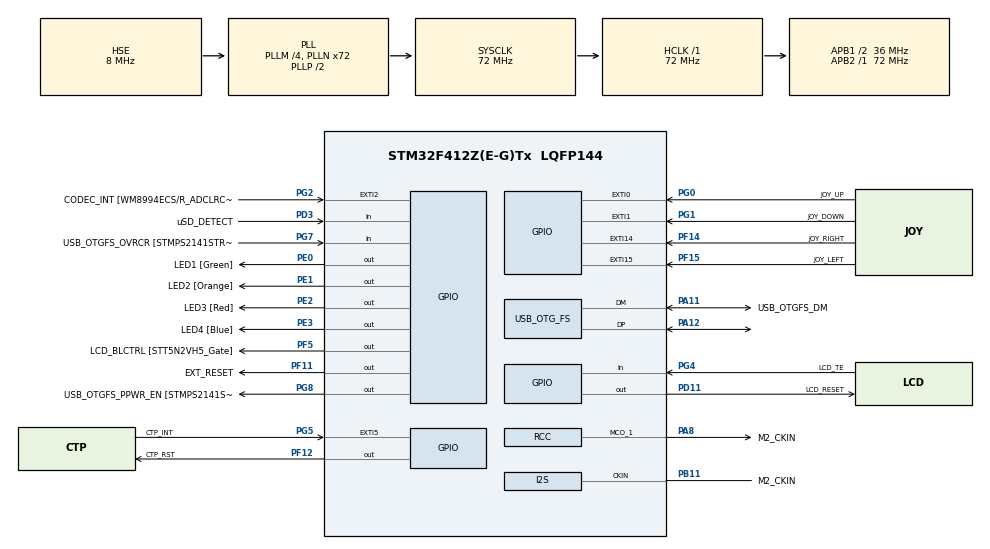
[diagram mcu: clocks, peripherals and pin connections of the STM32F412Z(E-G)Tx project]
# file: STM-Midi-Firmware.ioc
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FREERTOS.Tasks01=defaultTask,24,128,StartDefaultTask,Default,NULL,Dynamic,NULL,NULL
Mcu.Family=STM32F4
Mcu.Name=STM32F412Z(E-G)Tx
Mcu.Package=LQFP144
NVIC.EXTI0_IRQn=true\:5\:0\:false\:false\:true\:true\:true\:true\:true
NVIC.EXTI15_10_IRQn=true\:0\:0\:false\:false\:true\:false\:true\:true\:true
NVIC.EXTI1_IRQn=true\:0\:0\:false\:false\:true\:false\:true\:true\:true
NVIC.OTG_FS_IRQn=true\:5\:0\:false\:false\:true\:true\:true\:true\:true
NVIC.PriorityGroup=NVIC_PRIORITYGROUP_4
NVIC.TIM1_UP_TIM10_IRQn=true\:15\:0\:false\:false\:true\:false\:false\:true\:true
NVIC.TimeBase=TIM1_UP_TIM10_IRQn
NVIC.TimeBaseIP=TIM1
PA10.GPIO_Label=USB_OTGFS_ID
PA10.Signal=USB_OTG_FS_ID
PA11.GPIO_Label=USB_OTGFS_DM
PA11.Mode=Device_Only
PA11.Signal=USB_OTG_FS_DM
PA12.Mode=Device_Only
PA12.Signal=USB_OTG_FS_DP
PA13.GPIO_Label=SWDIO
PA13.Mode=Serial_Wire
PA13.Signal=SYS_JTMS-SWDIO
PA14.GPIO_Label=SWCLK
PA14.Mode=Serial_Wire
PA14.Signal=SYS_JTCK-SWCLK
PA2.GPIO_Label=STLINK_RX [STLINK_U2_RX]
PA2.Signal=USART2_TX
PA3.GPIO_Label=STLINK_TX [STLINK_U2_TX]
PA3.Signal=USART2_RX
PA4.GPIO_Label=CODEC_I2S3_WS [WM8994ECS/R_LRCLK1]
PA4.Signal=I2S3_WS
PA8.GPIO_Label=M2_CKIN
PA8.Mode=Clock-out-1
PA8.Signal=RCC_MCO_1
PA9.GPIO_Label=USB_OTGFS_VBUS
PA9.Signal=USB_OTG_FS_VBUS
PB1.GPIO_Label=DFSDM_DATIN0 [MP34DT01TR_DOUT]
PB1.Signal=S_DATAIN0DFSDM1
PB10.GPIO_Label=I2C2_SCL
PB10.GPIO_Pu=GPIO_PULLUP
PB10.Signal=I2C2_SCL
PB11.GPIO_Label=M2_CKIN
PB11.Mode=Audio_ClockIn
PB11.Signal=I2S_CKIN
PB12.GPIO_Label=CODEC_I2S3_SCK [WM8994ECS/R_BCLK1]
PB12.Signal=I2S3_CK
PB2.GPIO_Label=QSPI_CLK [N25Q128A13EF840F_C]
PB2.Signal=QUADSPI_CLK
PB3.GPIO_Label=SWO
PB3.Signal=SYS_JTDO-SWO
PB4.GPIO_Label=CODEC_I2S3ext_SD [WM8994ECS/R_ACDAT1]
PB4.Signal=I2S3_ext_SD
PB5.GPIO_Label=CODEC_I2S3_SD [WM8994ECS/R_DACDAT1]
PB5.Signal=I2S3_SD
PB6.GPIO_Label=I2C1_SCL [WM8994ECS/R_SCLK]
PB6.GPIO_Pu=GPIO_PULLUP
PB6.Signal=I2C1_SCL
PB7.GPIO_Label=I2C1_SDA [WM8994ECS/R_SDA]
PB7.GPIO_Pu=GPIO_PULLUP
PB7.Signal=I2C1_SDA
PB9.GPIO_Label=I2C2_SDA
PB9.GPIO_Pu=GPIO_PULLUP
PB9.Signal=I2C2_SDA
PC10.GPIO_Label=uSD_D2
PC10.Signal=SDIO_D2
PC11.GPIO_Label=uSD_D3
PC11.Signal=SDIO_D3
PC12.GPIO_Label=uSD_CLK
PC12.Signal=SDIO_CK
PC14-OSC32_IN.Mode=LSE-External-Oscillator
PC14-OSC32_IN.Signal=RCC_OSC32_IN
PC15-OSC32_OUT.Mode=LSE-External-Oscillator
PC15-OSC32_OUT.Signal=RCC_OSC32_OUT
PC2.GPIO_Label=DFSDM_CKOUT [MP34DT01TR_CLK]
PC2.Signal=S_CKOUTDFSDM1
PC7.GPIO_Label=CODEC_I2S3_MCK [WM8994ECS/R_MCLK1]
PC7.Signal=I2S3_MCK
PC8.GPIO_Label=uSD_D0
PC8.Signal=SDIO_D0
PC9.GPIO_Label=uSD_D1
PC9.Signal=SDIO_D1
PD0.GPIO_Label=D2
PD0.Signal=FSMC_D2_DA2
PD1.GPIO_Label=D3
PD1.Signal=FSMC_D3_DA3
PD10.GPIO_Label=D15
PD10.Signal=FSMC_D15_DA15
PD11.GPIO_Label=LCD_RESET
PD11.Signal=GPIO_Output
PD14.GPIO_Label=D0
PD14.Signal=FSMC_D0_DA0
PD15.GPIO_Label=D1
PD15.Signal=FSMC_D1_DA1
PD2.GPIO_Label=uSD_CMD
PD2.Signal=SDIO_CMD
PD3.GPIO_Label=uSD_DETECT
PD3.Signal=GPIO_Input
PD4.GPIO_Label=FMC_NOE
PD4.Signal=FSMC_NOE
PD5.GPIO_Label=FMC_NWE
PD5.Signal=FSMC_NWE
PD7.GPIO_Label=FMC_NE1
PD7.Signal=FSMC_NE1
PD8.GPIO_Label=D13
PD8.Signal=FSMC_D13_DA13
PD9.GPIO_Label=D14
PD9.Signal=FSMC_D14_DA14
PE0.GPIO_Label=LED1 [Green]
PE0.GPIO_ModeDefaultOutputPP=GPIO_MODE_OUTPUT_OD
PE0.Signal=GPIO_Output
PE1.GPIO_Label=LED2 [Orange]
PE1.GPIO_ModeDefaultOutputPP=GPIO_MODE_OUTPUT_OD
PE1.Signal=GPIO_Output
PE10.GPIO_Label=D7
PE10.Signal=FSMC_D7_DA7
PE11.GPIO_Label=D8
PE11.Signal=FSMC_D8_DA8
PE12.GPIO_Label=D9
PE12.Signal=FSMC_D9_DA9
PE13.GPIO_Label=D10
PE13.Signal=FSMC_D10_DA10
PE14.GPIO_Label=D11
PE14.Signal=FSMC_D11_DA11
PE15.GPIO_Label=D12
PE15.Signal=FSMC_D12_DA12
PE2.GPIO_Label=LED3 [Red]
PE2.GPIO_ModeDefaultOutputPP=GPIO_MODE_OUTPUT_OD
PE2.Signal=GPIO_Output
PE3.GPIO_Label=LED4 [Blue]
PE3.GPIO_ModeDefaultOutputPP=GPIO_MODE_OUTPUT_OD
PE3.Signal=GPIO_Output
PE4.GPIO_Label=DFSDM_DATIN3 [MP23DB01MM_DOUT]
PE4.Signal=S_DATAIN3DFSDM1
PE7.GPIO_Label=D4
PE7.Signal=FSMC_D4_DA4
PE8.GPIO_Label=D5
PE8.Signal=FSMC_D5_DA5
PE9.GPIO_Label=D6
PE9.Signal=FSMC_D6_DA6
PF0.GPIO_Label=A0
PF0.Signal=FSMC_A0
PF11.GPIO_Label=EXT_RESET
PF11.Signal=GPIO_Output
PF12.GPIO_Label=CTP_RST
PF12.Signal=GPIO_Output
PF14.GPIO_Label=JOY_RIGHT
PF14.Signal=GPXTI14
PF15.GPIO_Label=JOY_LEFT
PF15.Signal=GPXTI15
PF5.GPIO_Label=LCD_BLCTRL [STT5N2VH5_Gate]
PF5.Signal=GPIO_Output
PF6.GPIO_Label=QSPI_BK1_IO3 [N25Q128A13EF840F_DQ3]
PF6.Signal=QUADSPI_BK1_IO3
PF7.GPIO_Label=QSPI_BK1_IO2 [N25Q128A13EF840F_DQ2]
PF7.Signal=QUADSPI_BK1_IO2
PF8.GPIO_Label=QSPI_BK1_IO0 [N25Q128A13EF840F_DQ0]
PF8.Signal=QUADSPI_BK1_IO0
PF9.GPIO_Label=QSPI_BK1_IO1 [N25Q128A13EF840F_DQ1]
PF9.Signal=QUADSPI_BK1_IO1
PG0.GPIO_Label=JOY_UP
PG0.Signal=GPXTI0
PG1.GPIO_Label=JOY_DOWN
PG1.Signal=GPXTI1
PG2.GPIO_Label=CODEC_INT [WM8994ECS/R_ADCLRCLK1/GPIO1]
PG2.Signal=GPXTI2
PG4.GPIO_Label=LCD_TE
PG4.Signal=GPIO_Input
PG5.GPIO_Label=CTP_INT
PG5.Signal=GPXTI5
PG6.GPIO_Label=QSPI_BK1_NCS [N25Q128A13EF840F_S]
PG6.Signal=QUADSPI_BK1_NCS
PG7.GPIO_Label=USB_OTGFS_OVRCR [STMPS2141STR_FAULT]
PG7.Signal=GPIO_Input
PG8.GPIO_Label=USB_OTGFS_PPWR_EN [STMPS2141STR_EN]
PG8.GPIO_ModeDefaultOutputPP=GPIO_MODE_OUTPUT_OD
PG8.PinState=GPIO_PIN_SET
PG8.Signal=GPIO_Output
PH0\ -\ OSC_IN.GPIO_Label=STLK_MCO
PH0\ -\ OSC_IN.Mode=HSE-External-Clock-Source
PH0\ -\ OSC_IN.Signal=RCC_OSC_IN
PH1\ -\ OSC_OUT.Mode=HSE-External-Clock-Source
PH1\ -\ OSC_OUT.Signal=RCC_OSC_OUT
ProjectManager.HeapSize=0x200
ProjectManager.StackSize=0x400
ProjectManager.TargetToolchain=STM32CubeIDE
RCC.48MHZClocksFreq_Value=48000000
RCC.AHBFreq_Value=72000000
RCC.APB1CLKDivider=RCC_HCLK_DIV2
RCC.APB1Freq_Value=36000000
RCC.APB1TimFreq_Value=72000000
RCC.APB2Freq_Value=72000000
RCC.APB2TimFreq_Value=72000000
RCC.CortexFreq_Value=72000000
RCC.HCLKFreq_Value=72000000
RCC.HSE_VALUE=8000000
RCC.HSI_VALUE=16000000
RCC.PLLI2SM=4
RCC.PLLI2SN=50
RCC.PLLM=4
RCC.PLLN=72
RCC.PLLQ=3
RCC.PLLSourceVirtual=RCC_PLLSOURCE_HSE
RCC.SYSCLKFreq_VALUE=72000000
RCC.SYSCLKSource=RCC_SYSCLKSOURCE_PLLCLK
RCC.USBFreq_Value=48000000
RCC.VCOOutputFreq_Value=144000000
SH.FSMC_A0.0=FSMC_A0
SH.FSMC_D0_DA0.0=FSMC_D0
SH.FSMC_D10_DA10.0=FSMC_D10
SH.FSMC_D11_DA11.0=FSMC_D11
SH.FSMC_D12_DA12.0=FSMC_D12
SH.FSMC_D13_DA13.0=FSMC_D13
SH.FSMC_D14_DA14.0=FSMC_D14
SH.FSMC_D15_DA15.0=FSMC_D15
SH.FSMC_D1_DA1.0=FSMC_D1
SH.FSMC_D2_DA2.0=FSMC_D2
SH.FSMC_D3_DA3.0=FSMC_D3
SH.FSMC_D4_DA4.0=FSMC_D4
SH.FSMC_D5_DA5.0=FSMC_D5
SH.FSMC_D6_DA6.0=FSMC_D6
SH.FSMC_D7_DA7.0=FSMC_D7
SH.FSMC_D8_DA8.0=FSMC_D8
SH.FSMC_D9_DA9.0=FSMC_D9
SH.FSMC_NOE.0=FSMC_NOE
SH.FSMC_NWE.0=FSMC_NWE
SH.S_CKOUTDFSDM1.0=DFSDM1_CKOUT
SH.S_DATAIN0DFSDM1.0=DFSDM1_DATIN0
SH.S_DATAIN3DFSDM1.0=DFSDM1_DATIN3
USB_OTG_FS.VirtualMode=Device_Only
VP_FREERTOS_VS_CMSIS_V2.Mode=CMSIS_V2
VP_SYS_VS_tim1.Mode=TIM1
board=STM32F412G-DISCO

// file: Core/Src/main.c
/* USER CODE BEGIN Header */
/**
 ******************************************************************************
 * @file           : main.c
 * @brief          : Main program body
 ******************************************************************************
 * @attention
 *
 * Copyright (c) 2024 STMicroelectronics.
 * All rights reserved.
 *
 * This software is licensed under terms that can be found in the LICENSE file
 * in the root directory of this software component.
 * If no LICENSE file comes with this software, it is provided AS-IS.
 *
 ******************************************************************************
 */
/* USER CODE END Header */
#include "main.h"
#include "cmsis_os.h"

/* USER CODE BEGIN Includes */
#include "tusb.h"
#include "event_groups.h"
#include <limits.h>
#include "task.h"
/* USER CODE END Includes */

/* USER CODE BEGIN PTD */
typedef struct {
    uint8_t current;
    uint8_t length;
    uint32_t options[4];

} OptionState;

typedef struct {
    uint8_t length;
    uint8_t *notes[];

} Sequence;

typedef struct {
    OptionState tempo;
    OptionState length;
    Sequence *seqs[3];
    uint8_t num_seqs;
    uint8_t current_sequence;
    int note_pos;
    uint8_t running;

} SeqState;
/* USER CODE END PTD */

/* USER CODE BEGIN PD */
#define USBD_STACK_SIZE    (3*configMINIMAL_STACK_SIZE/2) * (CFG_TUSB_DEBUG ? 2 : 1)

#define JOY_UP_BIT    0x01
#define JOY_DOWN_BIT  0x02
#define JOY_LEFT_BIT  0x04
#define JOY_RIGHT_BIT 0x08
/* USER CODE END PD */

PCD_HandleTypeDef hpcd_USB_OTG_FS;

/* Definitions for defaultTask */
osThreadId_t defaultTaskHandle;
const osThreadAttr_t defaultTask_attributes = { .name = "defaultTask",
        .stack_size = 128 * 4, .priority = (osPriority_t) osPriorityNormal, };

/* USER CODE BEGIN PV */
/* Definitions for USB Device Task */
StackType_t usb_device_stack[USBD_STACK_SIZE];
StaticTask_t usb_device_taskdef;

TaskHandle_t seq_task_handle;

static Sequence seq_1 = { .length = 6, .notes = { (uint8_t[] )
        { 64, 67, 71, 66, 71, 67 } }, };

static Sequence seq_2 = { .length = 7, .notes = { (uint8_t[] )
        { 55, 67, 79, 73, 69, 57, 61 } }, };

static Sequence seq_3 = { .length = 8, .notes = { (uint8_t[] )
        { 75, 70, 65, 60, 59, 64, 79, 81 } }, };
/* USER CODE END PV */

void SystemClock_Config(void);
static void MX_GPIO_Init(void);
static void MX_USB_OTG_FS_PCD_Init(void);
void StartDefaultTask(void *argument);

/* USER CODE BEGIN PFP */
static void vUsbDeviceTask(void *pvParameters);
void vMidiTask(void *pvParameters);
void vNoteTask(void *pvParameters);
void vNoteOffCallback(TimerHandle_t xTimer);

void init_seq_state(SeqState *state);
void step_seq_tempo(SeqState *state);
void step_seq_length(SeqState *state);
void step_seq_sequence(SeqState *state);
void step_seq_note(SeqState *state);
uint8_t* get_seq_sequence(SeqState *state);
uint32_t get_seq_tempo(SeqState *state);
uint32_t get_seq_length(SeqState *state);
uint8_t get_seq_note(SeqState *state);

void init_option_state(uint32_t options[4], OptionState *option_handle);
/* USER CODE END PFP */

/* USER CODE BEGIN 0 */
void init_seq_state(SeqState *state) {

    init_option_state((uint32_t[]){400,200,100,50}, &state->tempo);
    init_option_state((uint32_t[]){300,150,100,25}, &state->length);

    state->seqs[0] = &seq_1;
    state->seqs[1] = &seq_2;
    state->seqs[2] = &seq_3;

    state->current_sequence = 0;

    state->num_seqs = 3;

    state->note_pos = 0;

    state->running = 0;
}

void init_option_state(uint32_t options[4], OptionState *option_handle) {
    option_handle->current = 0;
    option_handle->length = 4;
    option_handle->options[0] = options[0];
    option_handle->options[1] = options[1];
    option_handle->options[2] = options[2];
    option_handle->options[3] = options[3];
}

void step_seq_tempo(SeqState *state) {
    state->tempo.current = (state->tempo.current + 1) % state->tempo.length;
}

void step_seq_length(SeqState *state) {
    state->length.current = (state->length.current + 1) % state->length.length;
}

void step_seq_sequence(SeqState *state) {
    state->current_sequence = (state->current_sequence + 1) % 3;
    state->note_pos = 0;
}

void step_seq_note(SeqState *state) {
    state->note_pos = (state->note_pos + 1)
            % state->seqs[state->current_sequence]->length;
}

uint32_t get_seq_tempo(SeqState *state) {
    uint32_t *options = state->tempo.options;
    uint8_t current = state->tempo.current;
    return pdMS_TO_TICKS(options[current]);
}

uint32_t get_seq_length(SeqState *state) {
    uint32_t *options = state->length.options;
    uint8_t current = state->length.current;
    return pdMS_TO_TICKS(options[current]);
}

uint8_t* get_seq_sequence(SeqState *state) {
    return *state->seqs[state->current_sequence]->notes;
}

uint8_t get_seq_note(SeqState *state) {
    uint8_t *notes = get_seq_sequence(state);
    return notes[state->note_pos];
}

/* USER CODE END 0 */

int main(void) {

    /* MCU Configuration--------------------------------------------------------*/

    /* Reset of all peripherals, Initializes the Flash interface and the Systick. */
    HAL_Init();

    /* Configure the system clock */
    SystemClock_Config();

    /* Initialize all configured peripherals */
    MX_GPIO_Init();
    MX_USB_OTG_FS_PCD_Init();
    /* USER CODE BEGIN 2 */
    tusb_init();
    // turn off leds except 4
    HAL_GPIO_WritePin(GPIOE, LED3_Pin | LED1_Pin | LED2_Pin, 1);

    /* USER CODE END 2 */

    /* Init scheduler */
    osKernelInitialize();

    /* Create the thread(s) */
    /* creation of defaultTask */
    defaultTaskHandle = osThreadNew(StartDefaultTask, NULL,
            &defaultTask_attributes);

    /* USER CODE BEGIN RTOS_THREADS */
    xTaskCreateStatic(vUsbDeviceTask, "usbd", USBD_STACK_SIZE, NULL,
    configMAX_PRIORITIES - 1, usb_device_stack, &usb_device_taskdef);

    xTaskCreate(vMidiTask, "seq", 128 * 4, NULL, osPriorityNormal,
            &seq_task_handle);

    /* USER CODE END RTOS_THREADS */

    /* Start scheduler */
    osKernelStart();

    /* We should never get here as control is now taken by the scheduler */
    /* Infinite loop */
    while (1) {

    }
}

void SystemClock_Config(void) {
    RCC_OscInitTypeDef RCC_OscInitStruct = { 0 };
    RCC_ClkInitTypeDef RCC_ClkInitStruct = { 0 };

    /** Configure the main internal regulator output voltage
     */
    __HAL_RCC_PWR_CLK_ENABLE();
    __HAL_PWR_VOLTAGESCALING_CONFIG(PWR_REGULATOR_VOLTAGE_SCALE1);

    /** Initializes the RCC Oscillators according to the specified parameters
     * in the RCC_OscInitTypeDef structure.
     */
    RCC_OscInitStruct.OscillatorType = RCC_OSCILLATORTYPE_HSI
            | RCC_OSCILLATORTYPE_HSE;
    RCC_OscInitStruct.HSEState = RCC_HSE_BYPASS;
    RCC_OscInitStruct.HSIState = RCC_HSI_ON;
    RCC_OscInitStruct.HSICalibrationValue = RCC_HSICALIBRATION_DEFAULT;
    RCC_OscInitStruct.PLL.PLLState = RCC_PLL_ON;
    RCC_OscInitStruct.PLL.PLLSource = RCC_PLLSOURCE_HSE;
    RCC_OscInitStruct.PLL.PLLM = 4;
    RCC_OscInitStruct.PLL.PLLN = 72;
    RCC_OscInitStruct.PLL.PLLP = RCC_PLLP_DIV2;
    RCC_OscInitStruct.PLL.PLLQ = 3;
    RCC_OscInitStruct.PLL.PLLR = 2;
    if (HAL_RCC_OscConfig(&RCC_OscInitStruct) != HAL_OK) {
        Error_Handler();
    }

    /** Initializes the CPU, AHB and APB buses clocks
     */
    RCC_ClkInitStruct.ClockType = RCC_CLOCKTYPE_HCLK | RCC_CLOCKTYPE_SYSCLK
            | RCC_CLOCKTYPE_PCLK1 | RCC_CLOCKTYPE_PCLK2;
    RCC_ClkInitStruct.SYSCLKSource = RCC_SYSCLKSOURCE_PLLCLK;
    RCC_ClkInitStruct.AHBCLKDivider = RCC_SYSCLK_DIV1;
    RCC_ClkInitStruct.APB1CLKDivider = RCC_HCLK_DIV2;
    RCC_ClkInitStruct.APB2CLKDivider = RCC_HCLK_DIV1;

    if (HAL_RCC_ClockConfig(&RCC_ClkInitStruct, FLASH_LATENCY_2) != HAL_OK) {
        Error_Handler();
    }
    HAL_RCC_MCOConfig(RCC_MCO1, RCC_MCO1SOURCE_HSI, RCC_MCODIV_1);
}

static void MX_USB_OTG_FS_PCD_Init(void) {

    hpcd_USB_OTG_FS.Instance = USB_OTG_FS;
    hpcd_USB_OTG_FS.Init.dev_endpoints = 6;
    hpcd_USB_OTG_FS.Init.speed = PCD_SPEED_FULL;
    hpcd_USB_OTG_FS.Init.dma_enable = DISABLE;
    hpcd_USB_OTG_FS.Init.phy_itface = PCD_PHY_EMBEDDED;
    hpcd_USB_OTG_FS.Init.Sof_enable = DISABLE;
    hpcd_USB_OTG_FS.Init.low_power_enable = DISABLE;
    hpcd_USB_OTG_FS.Init.lpm_enable = DISABLE;
    hpcd_USB_OTG_FS.Init.battery_charging_enable = DISABLE;
    hpcd_USB_OTG_FS.Init.vbus_sensing_enable = DISABLE;
    hpcd_USB_OTG_FS.Init.use_dedicated_ep1 = DISABLE;
    if (HAL_PCD_Init(&hpcd_USB_OTG_FS) != HAL_OK) {
        Error_Handler();
    }

}

static void MX_GPIO_Init(void) {
    GPIO_InitTypeDef GPIO_InitStruct = { 0 };

    /* GPIO Ports Clock Enable */
    __HAL_RCC_GPIOE_CLK_ENABLE();
    __HAL_RCC_GPIOC_CLK_ENABLE();
    __HAL_RCC_GPIOF_CLK_ENABLE();
    __HAL_RCC_GPIOH_CLK_ENABLE();
    __HAL_RCC_GPIOA_CLK_ENABLE();
    __HAL_RCC_GPIOB_CLK_ENABLE();
    __HAL_RCC_GPIOG_CLK_ENABLE();
    __HAL_RCC_GPIOD_CLK_ENABLE();

    /*Configure GPIO pin Output Level */
    HAL_GPIO_WritePin(GPIOE, LED3_Pin | LED4_Pin | LED1_Pin | LED2_Pin,
            GPIO_PIN_RESET);

    /*Configure GPIO pin Output Level */
    HAL_GPIO_WritePin(GPIOF, LCD_BLCTRL_Pin | EXT_RESET_Pin | CTP_RST_Pin,
            GPIO_PIN_RESET);

    /*Configure GPIO pin Output Level */
    HAL_GPIO_WritePin(LCD_RESET_GPIO_Port, LCD_RESET_Pin, GPIO_PIN_RESET);

    /*Configure GPIO pin Output Level */
    HAL_GPIO_WritePin(USB_OTGFS_PPWR_EN_GPIO_Port, USB_OTGFS_PPWR_EN_Pin,
            GPIO_PIN_SET);

    /*Configure GPIO pins : LED3_Pin LED4_Pin LED1_Pin LED2_Pin */
    GPIO_InitStruct.Pin = LED3_Pin | LED4_Pin | LED1_Pin | LED2_Pin;
    GPIO_InitStruct.Mode = GPIO_MODE_OUTPUT_OD;
    GPIO_InitStruct.Pull = GPIO_NOPULL;
    GPIO_InitStruct.Speed = GPIO_SPEED_FREQ_LOW;
    HAL_GPIO_Init(GPIOE, &GPIO_InitStruct);

    /*Configure GPIO pin : DFSDM_DATIN3_Pin */
    GPIO_InitStruct.Pin = DFSDM_DATIN3_Pin;
    GPIO_InitStruct.Mode = GPIO_MODE_AF_PP;
    GPIO_InitStruct.Pull = GPIO_NOPULL;
    GPIO_InitStruct.Speed = GPIO_SPEED_FREQ_LOW;
    GPIO_InitStruct.Alternate = GPIO_AF8_DFSDM1;
    HAL_GPIO_Init(DFSDM_DATIN3_GPIO_Port, &GPIO_InitStruct);

    /*Configure GPIO pin : A0_Pin */
    GPIO_InitStruct.Pin = A0_Pin;
    GPIO_InitStruct.Mode = GPIO_MODE_AF_PP;
    GPIO_InitStruct.Pull = GPIO_NOPULL;
    GPIO_InitStruct.Speed = GPIO_SPEED_FREQ_VERY_HIGH;
    GPIO_InitStruct.Alternate = GPIO_AF12_FSMC;
    HAL_GPIO_Init(A0_GPIO_Port, &GPIO_InitStruct);

    /*Configure GPIO pins : LCD_BLCTRL_Pin EXT_RESET_Pin CTP_RST_Pin */
    GPIO_InitStruct.Pin = LCD_BLCTRL_Pin | EXT_RESET_Pin | CTP_RST_Pin;
    GPIO_InitStruct.Mode = GPIO_MODE_OUTPUT_PP;
    GPIO_InitStruct.Pull = GPIO_NOPULL;
    GPIO_InitStruct.Speed = GPIO_SPEED_FREQ_LOW;
    HAL_GPIO_Init(GPIOF, &GPIO_InitStruct);

    /*Configure GPIO pins : QSPI_BK1_IO3_Pin QSPI_BK1_IO2_Pin */
    GPIO_InitStruct.Pin = QSPI_BK1_IO3_Pin | QSPI_BK1_IO2_Pin;
    GPIO_InitStruct.Mode = GPIO_MODE_AF_PP;
    GPIO_InitStruct.Pull = GPIO_NOPULL;
    GPIO_InitStruct.Speed = GPIO_SPEED_FREQ_VERY_HIGH;
    GPIO_InitStruct.Alternate = GPIO_AF9_QSPI;
    HAL_GPIO_Init(GPIOF, &GPIO_InitStruct);

    /*Configure GPIO pins : QSPI_BK1_IO0_Pin QSPI_BK1_IO1_Pin */
    GPIO_InitStruct.Pin = QSPI_BK1_IO0_Pin | QSPI_BK1_IO1_Pin;
    GPIO_InitStruct.Mode = GPIO_MODE_AF_PP;
    GPIO_InitStruct.Pull = GPIO_NOPULL;
    GPIO_InitStruct.Speed = GPIO_SPEED_FREQ_VERY_HIGH;
    GPIO_InitStruct.Alternate = GPIO_AF10_OTG_FS;
    HAL_GPIO_Init(GPIOF, &GPIO_InitStruct);

    /*Configure GPIO pin : DFSDM_CKOUT_Pin */
    GPIO_InitStruct.Pin = DFSDM_CKOUT_Pin;
    GPIO_InitStruct.Mode = GPIO_MODE_AF_PP;
    GPIO_InitStruct.Pull = GPIO_NOPULL;
    GPIO_InitStruct.Speed = GPIO_SPEED_FREQ_LOW;
    GPIO_InitStruct.Alternate = GPIO_AF8_DFSDM1;
    HAL_GPIO_Init(DFSDM_CKOUT_GPIO_Port, &GPIO_InitStruct);

    /*Configure GPIO pins : STLINK_RX_Pin STLINK_TX_Pin */
    GPIO_InitStruct.Pin = STLINK_RX_Pin | STLINK_TX_Pin;
    GPIO_InitStruct.Mode = GPIO_MODE_AF_PP;
    GPIO_InitStruct.Pull = GPIO_NOPULL;
    GPIO_InitStruct.Speed = GPIO_SPEED_FREQ_VERY_HIGH;
    GPIO_InitStruct.Alternate = GPIO_AF7_USART2;
    HAL_GPIO_Init(GPIOA, &GPIO_InitStruct);

    /*Configure GPIO pin : CODEC_I2S3_WS_Pin */
    GPIO_InitStruct.Pin = CODEC_I2S3_WS_Pin;
    GPIO_InitStruct.Mode = GPIO_MODE_AF_PP;
    GPIO_InitStruct.Pull = GPIO_NOPULL;
    GPIO_InitStruct.Speed = GPIO_SPEED_FREQ_LOW;
    GPIO_InitStruct.Alternate = GPIO_AF6_SPI3;
    HAL_GPIO_Init(CODEC_I2S3_WS_GPIO_Port, &GPIO_InitStruct);

    /*Configure GPIO pin : DFSDM_DATIN0_Pin */
    GPIO_InitStruct.Pin = DFSDM_DATIN0_Pin;
    GPIO_InitStruct.Mode = GPIO_MODE_AF_PP;
    GPIO_InitStruct.Pull = GPIO_NOPULL;
    GPIO_InitStruct.Speed = GPIO_SPEED_FREQ_LOW;
    GPIO_InitStruct.Alternate = GPIO_AF8_DFSDM1;
    HAL_GPIO_Init(DFSDM_DATIN0_GPIO_Port, &GPIO_InitStruct);

    /*Configure GPIO pin : QSPI_CLK_Pin */
    GPIO_InitStruct.Pin = QSPI_CLK_Pin;
    GPIO_InitStruct.Mode = GPIO_MODE_AF_PP;
    GPIO_InitStruct.Pull = GPIO_NOPULL;
    GPIO_InitStruct.Speed = GPIO_SPEED_FREQ_VERY_HIGH;
    GPIO_InitStruct.Alternate = GPIO_AF9_QSPI;
    HAL_GPIO_Init(QSPI_CLK_GPIO_Port, &GPIO_InitStruct);

    /*Configure GPIO pins : JOY_RIGHT_Pin JOY_LEFT_Pin */
    GPIO_InitStruct.Pin = JOY_RIGHT_Pin | JOY_LEFT_Pin;
    GPIO_InitStruct.Mode = GPIO_MODE_IT_RISING;
    GPIO_InitStruct.Pull = GPIO_NOPULL;
    HAL_GPIO_Init(GPIOF, &GPIO_InitStruct);

    /*Configure GPIO pins : JOY_UP_Pin JOY_DOWN_Pin CODEC_INT_Pin CTP_INT_Pin */
    GPIO_InitStruct.Pin = JOY_UP_Pin | JOY_DOWN_Pin | CODEC_INT_Pin
            | CTP_INT_Pin;
    GPIO_InitStruct.Mode = GPIO_MODE_IT_RISING;
    GPIO_InitStruct.Pull = GPIO_NOPULL;
    HAL_GPIO_Init(GPIOG, &GPIO_InitStruct);

    /*Configure GPIO pins : D4_Pin D5_Pin D6_Pin D7_Pin
     D8_Pin D9_Pin D10_Pin D11_Pin
     D12_Pin */
    GPIO_InitStruct.Pin = D4_Pin | D5_Pin | D6_Pin | D7_Pin | D8_Pin | D9_Pin
            | D10_Pin | D11_Pin | D12_Pin;
    GPIO_InitStruct.Mode = GPIO_MODE_AF_PP;
    GPIO_InitStruct.Pull = GPIO_NOPULL;
    GPIO_InitStruct.Speed = GPIO_SPEED_FREQ_VERY_HIGH;
    GPIO_InitStruct.Alternate = GPIO_AF12_FSMC;
    HAL_GPIO_Init(GPIOE, &GPIO_InitStruct);

    /*Configure GPIO pin : I2C2_SCL_Pin */
    GPIO_InitStruct.Pin = I2C2_SCL_Pin;
    GPIO_InitStruct.Mode = GPIO_MODE_AF_OD;
    GPIO_InitStruct.Pull = GPIO_PULLUP;
    GPIO_InitStruct.Speed = GPIO_SPEED_FREQ_VERY_HIGH;
    GPIO_InitStruct.Alternate = GPIO_AF4_I2C2;
    HAL_GPIO_Init(I2C2_SCL_GPIO_Port, &GPIO_InitStruct);

    /*Configure GPIO pin : M2_CKIN_Pin */
    GPIO_InitStruct.Pin = M2_CKIN_Pin;
    GPIO_InitStruct.Mode = GPIO_MODE_AF_PP;
    GPIO_InitStruct.Pull = GPIO_NOPULL;
    GPIO_InitStruct.Speed = GPIO_SPEED_FREQ_LOW;
    GPIO_InitStruct.Alternate = GPIO_AF5_SPI1;
    HAL_GPIO_Init(M2_CKIN_GPIO_Port, &GPIO_InitStruct);

    /*Configure GPIO pins : CODEC_I2S3_SCK_Pin CODEC_I2S3ext_SD_Pin */
    GPIO_InitStruct.Pin = CODEC_I2S3_SCK_Pin | CODEC_I2S3ext_SD_Pin;
    GPIO_InitStruct.Mode = GPIO_MODE_AF_PP;
    GPIO_InitStruct.Pull = GPIO_NOPULL;
    GPIO_InitStruct.Speed = GPIO_SPEED_FREQ_LOW;
    GPIO_InitStruct.Alternate = GPIO_AF7_SPI3;
    HAL_GPIO_Init(GPIOB, &GPIO_InitStruct);

    /*Configure GPIO pins : D13_Pin D14_Pin D15_Pin D0_Pin
     D1_Pin D2_Pin D3_Pin FMC_NOE_Pin
     FMC_NWE_Pin FMC_NE1_Pin */
    GPIO_InitStruct.Pin = D13_Pin | D14_Pin | D15_Pin | D0_Pin | D1_Pin | D2_Pin
            | D3_Pin | FMC_NOE_Pin | FMC_NWE_Pin | FMC_NE1_Pin;
    GPIO_InitStruct.Mode = GPIO_MODE_AF_PP;
    GPIO_InitStruct.Pull = GPIO_NOPULL;
    GPIO_InitStruct.Speed = GPIO_SPEED_FREQ_VERY_HIGH;
    GPIO_InitStruct.Alternate = GPIO_AF12_FSMC;
    HAL_GPIO_Init(GPIOD, &GPIO_InitStruct);

    /*Configure GPIO pin : LCD_RESET_Pin */
    GPIO_InitStruct.Pin = LCD_RESET_Pin;
    GPIO_InitStruct.Mode = GPIO_MODE_OUTPUT_PP;
    GPIO_InitStruct.Pull = GPIO_NOPULL;
    GPIO_InitStruct.Speed = GPIO_SPEED_FREQ_LOW;
    HAL_GPIO_Init(LCD_RESET_GPIO_Port, &GPIO_InitStruct);

    /*Configure GPIO pins : LCD_TE_Pin USB_OTGFS_OVRCR_Pin */
    GPIO_InitStruct.Pin = LCD_TE_Pin | USB_OTGFS_OVRCR_Pin;
    GPIO_InitStruct.Mode = GPIO_MODE_INPUT;
    GPIO_InitStruct.Pull = GPIO_NOPULL;
    HAL_GPIO_Init(GPIOG, &GPIO_InitStruct);

    /*Configure GPIO pin : QSPI_BK1_NCS_Pin */
    GPIO_InitStruct.Pin = QSPI_BK1_NCS_Pin;
    GPIO_InitStruct.Mode = GPIO_MODE_AF_PP;
    GPIO_InitStruct.Pull = GPIO_NOPULL;
    GPIO_InitStruct.Speed = GPIO_SPEED_FREQ_VERY_HIGH;
    GPIO_InitStruct.Alternate = GPIO_AF10_OTG_FS;
    HAL_GPIO_Init(QSPI_BK1_NCS_GPIO_Port, &GPIO_InitStruct);

    /*Configure GPIO pin : USB_OTGFS_PPWR_EN_Pin */
    GPIO_InitStruct.Pin = USB_OTGFS_PPWR_EN_Pin;
    GPIO_InitStruct.Mode = GPIO_MODE_OUTPUT_OD;
    GPIO_InitStruct.Pull = GPIO_NOPULL;
    GPIO_InitStruct.Speed = GPIO_SPEED_FREQ_LOW;
    HAL_GPIO_Init(USB_OTGFS_PPWR_EN_GPIO_Port, &GPIO_InitStruct);

    /*Configure GPIO pin : CODEC_I2S3_MCK_Pin */
    GPIO_InitStruct.Pin = CODEC_I2S3_MCK_Pin;
    GPIO_InitStruct.Mode = GPIO_MODE_AF_PP;
    GPIO_InitStruct.Pull = GPIO_NOPULL;
    GPIO_InitStruct.Speed = GPIO_SPEED_FREQ_LOW;
    GPIO_InitStruct.Alternate = GPIO_AF6_SPI3;
    HAL_GPIO_Init(CODEC_I2S3_MCK_GPIO_Port, &GPIO_InitStruct);

    /*Configure GPIO pins : uSD_D0_Pin uSD_D1_Pin uSD_D2_Pin uSD_D3_Pin
     uSD_CLK_Pin */
    GPIO_InitStruct.Pin = uSD_D0_Pin | uSD_D1_Pin | uSD_D2_Pin | uSD_D3_Pin
            | uSD_CLK_Pin;
    GPIO_InitStruct.Mode = GPIO_MODE_AF_PP;
    GPIO_InitStruct.Pull = GPIO_NOPULL;
    GPIO_InitStruct.Speed = GPIO_SPEED_FREQ_VERY_HIGH;
    GPIO_InitStruct.Alternate = GPIO_AF12_SDIO;
    HAL_GPIO_Init(GPIOC, &GPIO_InitStruct);

    /*Configure GPIO pin : M2_CKINA8_Pin */
    GPIO_InitStruct.Pin = M2_CKINA8_Pin;
    GPIO_InitStruct.Mode = GPIO_MODE_AF_PP;
    GPIO_InitStruct.Pull = GPIO_NOPULL;
    GPIO_InitStruct.Speed = GPIO_SPEED_FREQ_LOW;
    GPIO_InitStruct.Alternate = GPIO_AF0_MCO;
    HAL_GPIO_Init(M2_CKINA8_GPIO_Port, &GPIO_InitStruct);

    /*Configure GPIO pin : uSD_CMD_Pin */
    GPIO_InitStruct.Pin = uSD_CMD_Pin;
    GPIO_InitStruct.Mode = GPIO_MODE_AF_PP;
    GPIO_InitStruct.Pull = GPIO_NOPULL;
    GPIO_InitStruct.Speed = GPIO_SPEED_FREQ_VERY_HIGH;
    GPIO_InitStruct.Alternate = GPIO_AF12_SDIO;
    HAL_GPIO_Init(uSD_CMD_GPIO_Port, &GPIO_InitStruct);

    /*Configure GPIO pin : uSD_DETECT_Pin */
    GPIO_InitStruct.Pin = uSD_DETECT_Pin;
    GPIO_InitStruct.Mode = GPIO_MODE_INPUT;
    GPIO_InitStruct.Pull = GPIO_NOPULL;
    HAL_GPIO_Init(uSD_DETECT_GPIO_Port, &GPIO_InitStruct);

    /*Configure GPIO pin : CODEC_I2S3_SD_Pin */
    GPIO_InitStruct.Pin = CODEC_I2S3_SD_Pin;
    GPIO_InitStruct.Mode = GPIO_MODE_AF_PP;
    GPIO_InitStruct.Pull = GPIO_NOPULL;
    GPIO_InitStruct.Speed = GPIO_SPEED_FREQ_LOW;
    GPIO_InitStruct.Alternate = GPIO_AF6_SPI3;
    HAL_GPIO_Init(CODEC_I2S3_SD_GPIO_Port, &GPIO_InitStruct);

    /*Configure GPIO pins : I2C1_SCL_Pin I2C1_SDA_Pin */
    GPIO_InitStruct.Pin = I2C1_SCL_Pin | I2C1_SDA_Pin;
    GPIO_InitStruct.Mode = GPIO_MODE_AF_OD;
    GPIO_InitStruct.Pull = GPIO_PULLUP;
    GPIO_InitStruct.Speed = GPIO_SPEED_FREQ_VERY_HIGH;
    GPIO_InitStruct.Alternate = GPIO_AF4_I2C1;
    HAL_GPIO_Init(GPIOB, &GPIO_InitStruct);

    /*Configure GPIO pin : I2C2_SDA_Pin */
    GPIO_InitStruct.Pin = I2C2_SDA_Pin;
    GPIO_InitStruct.Mode = GPIO_MODE_AF_OD;
    GPIO_InitStruct.Pull = GPIO_PULLUP;
    GPIO_InitStruct.Speed = GPIO_SPEED_FREQ_VERY_HIGH;
    GPIO_InitStruct.Alternate = GPIO_AF9_I2C2;
    HAL_GPIO_Init(I2C2_SDA_GPIO_Port, &GPIO_InitStruct);

    /* EXTI interrupt init*/
    HAL_NVIC_SetPriority(EXTI0_IRQn, 5, 0);
    HAL_NVIC_EnableIRQ(EXTI0_IRQn);

    HAL_NVIC_SetPriority(EXTI1_IRQn, 5, 0);
    HAL_NVIC_EnableIRQ(EXTI1_IRQn);

    HAL_NVIC_SetPriority(EXTI15_10_IRQn, 5, 0);
    HAL_NVIC_EnableIRQ(EXTI15_10_IRQn);

}

/* USER CODE BEGIN 4 */
//----------------------------------------------------------------------------+
// JOYSTICK INTERRUPTS
//----------------------------------------------------------------------------+
void HAL_GPIO_EXTI_Callback(uint16_t GPIO_Pin) {

    BaseType_t xHigherPriorityTaskWoken = pdFALSE;

    if (GPIO_Pin == JOY_UP_Pin) {
        xTaskNotifyFromISR(seq_task_handle, JOY_UP_BIT, eSetBits,
                &xHigherPriorityTaskWoken);
    }
    if (GPIO_Pin == JOY_DOWN_Pin) {
        xTaskNotifyFromISR(seq_task_handle, JOY_DOWN_BIT, eSetBits,
                &xHigherPriorityTaskWoken);
    }
    if (GPIO_Pin == JOY_LEFT_Pin) {
        xTaskNotifyFromISR(seq_task_handle, JOY_LEFT_BIT, eSetBits,
                &xHigherPriorityTaskWoken);
    }
    if (GPIO_Pin == JOY_RIGHT_Pin) {
        xTaskNotifyFromISR(seq_task_handle, JOY_RIGHT_BIT, eSetBits,
                &xHigherPriorityTaskWoken);
    }

    portYIELD_FROM_ISR(xHigherPriorityTaskWoken);
}

//----------------------------------------------------------------------------+
// USB DEVICE TASK
//----------------------------------------------------------------------------+
static void vUsbDeviceTask(void *pvParameters) {

    // init device stack on configured roothub port
    // This should be called after scheduler/kernel is started.
    // Otherwise it could cause kernel issue since USB IRQ handler does use RTOS queue API.
    tud_init(BOARD_TUD_RHPORT);

    // RTOS forever loop
    for (;;) {
        // put this thread to waiting state until there is new events
        tud_task();
    }
}

//----------------------------------------------------------------------------+
// MIDI MANAGMENT TASK
//----------------------------------------------------------------------------+
void vMidiTask(void *pvParameters) {

    uint32_t ulNotifiedValue;

    TaskHandle_t note_task_handle;

    static SeqState state;
    init_seq_state(&state);

    // raise priority so that note doesn't run before it is suspended
    vTaskPrioritySet(seq_task_handle, osPriorityRealtime7);

    xTaskCreate(vNoteTask, "note", 128 * 4, (void*) &state, osPriorityRealtime,
            &note_task_handle);
    vTaskSuspend(note_task_handle);

    // put priority down to where it was
    vTaskPrioritySet(seq_task_handle, osPriorityHigh);

    // RTOS forever loop
    for (;;) {

        xTaskNotifyWait(pdFALSE, ULONG_MAX, &ulNotifiedValue, portMAX_DELAY);

        // if we get here, notification has been received
        if ((ulNotifiedValue & JOY_UP_BIT) != 0) {
            if (state.running == 0) {
                vTaskResume(note_task_handle);
            }
            if (state.running == 1) {
                vTaskSuspend(note_task_handle);
                // reset note position
                state.note_pos = 0;
                // send all notes off message
                uint8_t all_notes_off[3] = { 0xB0, 0x7B, 0 };
                tud_midi_stream_write(0, all_notes_off, 3);
            }
            state.running = state.running == 1 ? 0 : 1;
        }

        if ((ulNotifiedValue & JOY_DOWN_BIT) != 0) {
            step_seq_length(&state);
        }

        if ((ulNotifiedValue & JOY_LEFT_BIT) != 0) {
            step_seq_tempo(&state);
        }

        if ((ulNotifiedValue & JOY_RIGHT_BIT) != 0) {
            step_seq_sequence(&state);
        }
    }
}

//----------------------------------------------------------------------------+
// NOTE PLAYING TASK
//----------------------------------------------------------------------------+
void vNoteTask(void *pvParameters) {

    TickType_t xLastWakeTime;
    TickType_t xCurrentTick;
    xLastWakeTime = xTaskGetTickCount();

    SeqState *state = (SeqState*) pvParameters;

    for (;;) {

        xCurrentTick = xTaskGetTickCount();

        // if task has been suspended we need to set xLastWakTime
        if (xLastWakeTime - xCurrentTick) {
            xLastWakeTime = xCurrentTick;
        }

        uint8_t const channel = 0;
        uint8_t const cable_num = 0;

        uint8_t current_note = get_seq_note(state);

        // trigger note on
        uint8_t note_on[3] = { 0x90 | channel, current_note, 127 };
        tud_midi_stream_write(cable_num, note_on, 3);

        // create one-shot timer that will trigger note-off after note_length
        TimerHandle_t timer = xTimerCreate("Timer", get_seq_length(state),
        pdFALSE, (void*) (uint32_t) current_note, vNoteOffCallback);

        xTimerStart(timer, 0);

        step_seq_note(state);

        vTaskDelayUntil(&xLastWakeTime, get_seq_tempo(state));
    }
}

//----------------------------------------------------------------------------+
// NOTE STOPPING TIMER CALLBACK
//----------------------------------------------------------------------------+
void vNoteOffCallback(TimerHandle_t xTimer) {

    uint8_t const channel = 0;
    uint8_t const cable_num = 0;

    uint8_t note = (uint32_t) pvTimerGetTimerID(xTimer);

    uint8_t note_off[3] = { 0x90 | channel, (uint8_t) note, 0 };
    tud_midi_stream_write(cable_num, note_off, 3);

    xTimerDelete(xTimer, 0);
}

/* USER CODE END 4 */

void StartDefaultTask(void *argument) {
    for (;;) {
        osDelay(1);
    }
}

void HAL_TIM_PeriodElapsedCallback(TIM_HandleTypeDef *htim) {
    if (htim->Instance == TIM1) {
        HAL_IncTick();
    }
}

void Error_Handler(void) {
    __disable_irq();
    while (1) {
    }
}
